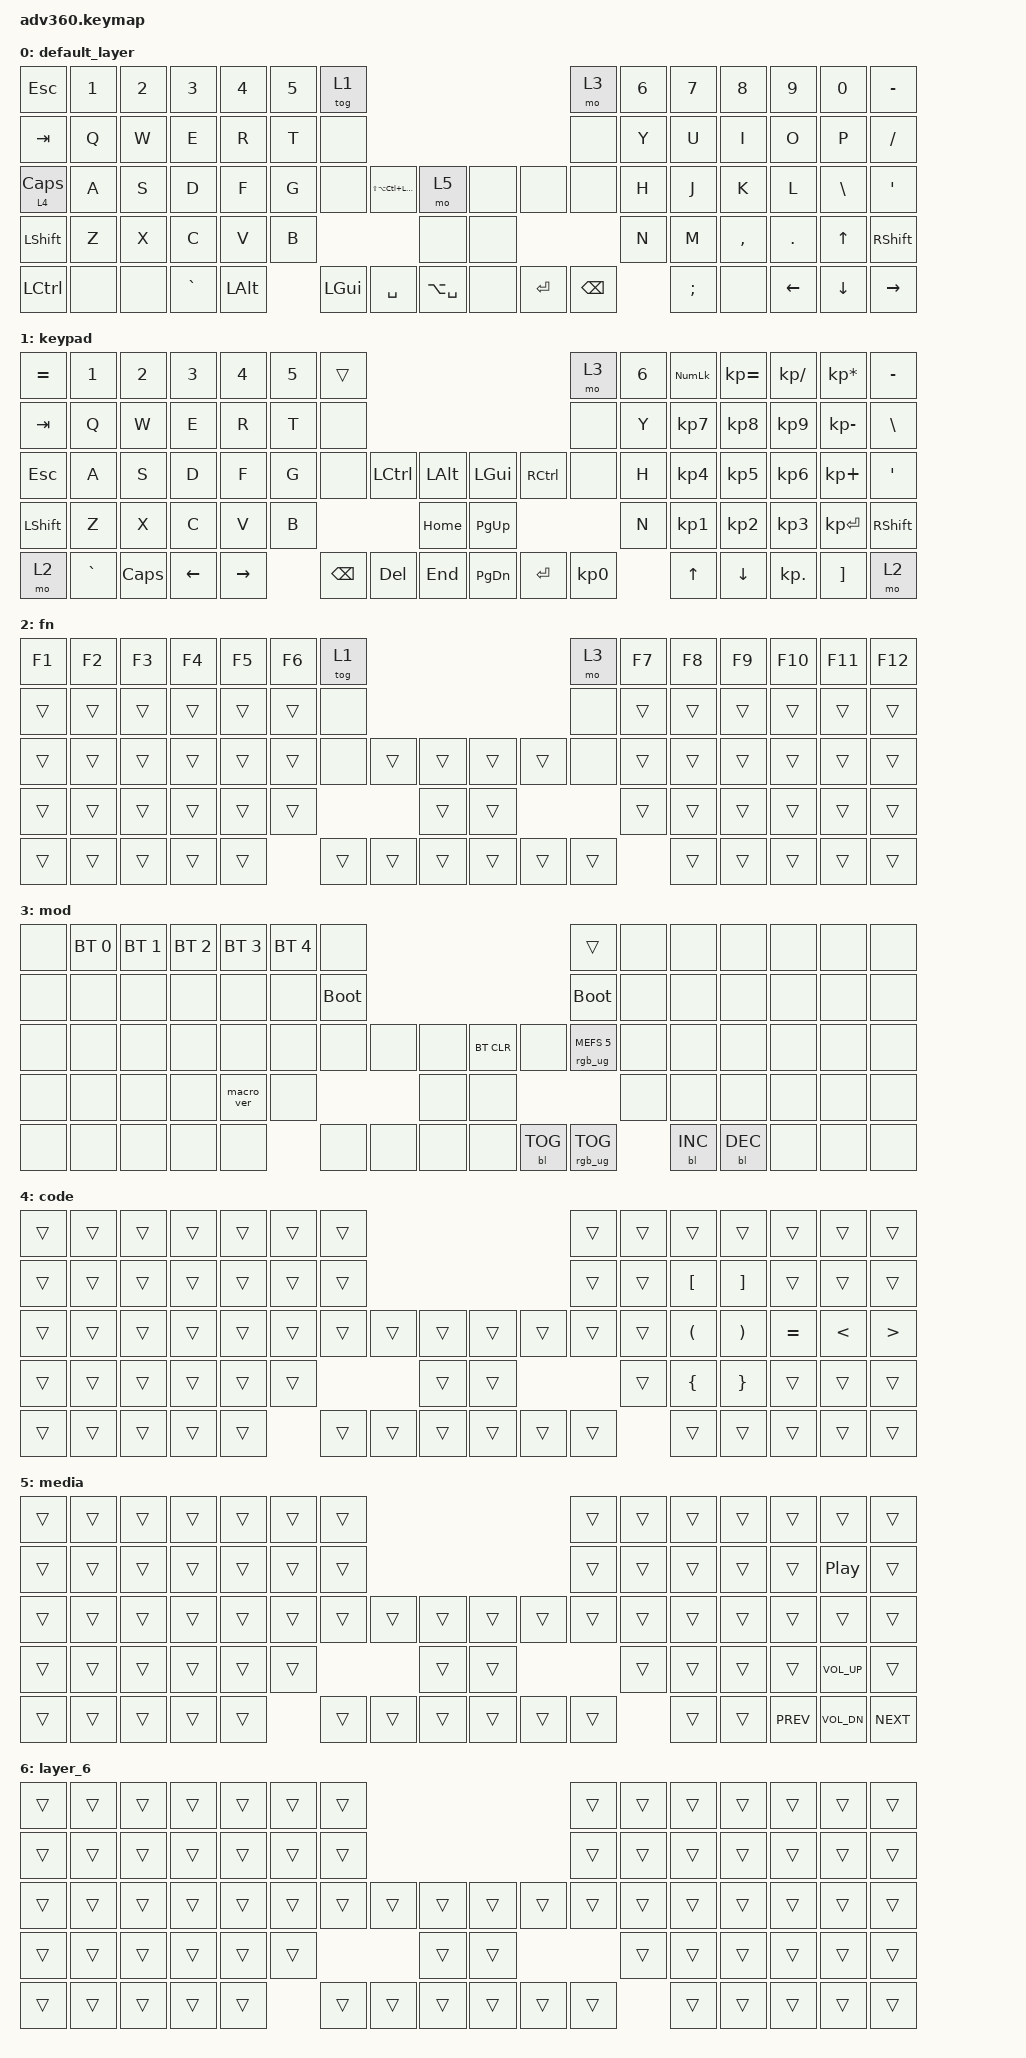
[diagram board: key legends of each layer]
#include <behaviors.dtsi>
#include <dt-bindings/zmk/backlight.h>
#include <dt-bindings/zmk/bt.h>
#include <dt-bindings/zmk/keys.h>
#include <dt-bindings/zmk/rgb.h>

/ {
    behaviors {
        #include "macros.dtsi"
      #include "version.dtsi"
      #ifndef VERSION_MACRO

        macro_ver: macro_ver {
            compatible = "zmk,behavior-macro";
            label = "macro_version";
            #binding-cells = <0>;
            bindings = <&kp RET>;
        };

        #endif

        hm: homerow_mods {
            compatible = "zmk,behavior-hold-tap";
            label = "HOMEROW_MODS";
            #binding-cells = <2>;
            tapping-term-ms = <200>;
            quick_tap_ms = <175>;
            flavor = "tap-preferred";
            bindings = <&kp>, <&kp>;
        };
    };

    macros {
    };

    keymap {
        compatible = "zmk,keymap";

        default_layer {
            bindings = <
&kp ESC     &kp N1  &kp N2  &kp N3     &kp N4        &kp N5  &tog 1                                                               &mo 3          &kp N6  &kp N7    &kp N8     &kp N9          &kp N0         &kp MINUS
&kp TAB     &kp Q   &kp W   &kp E      &kp R         &kp T   &none                                                                &none          &kp Y   &kp U     &kp I      &kp O           &kp P          &kp SLASH
&lt 4 CAPS  &kp A   &kp S   &kp D      &kp F         &kp G   &none     &kp LS(LA(LC(LGUI)))  &mo 5              &none  &none      &none          &kp H   &kp J     &kp K      &kp L           &kp BACKSLASH  &kp SQT
&kp LSHFT   &kp Z   &kp X   &kp C      &kp V         &kp B                                   &none              &none                            &kp N   &kp M     &kp COMMA  &kp DOT         &kp UP_ARROW   &kp RSHFT
&kp LCTRL   &none   &none   &kp GRAVE  &kp LEFT_ALT          &kp LGUI  &kp SPACE             &kp LA(SPACE)      &none  &kp ENTER  &kp BACKSPACE          &kp SEMI  &none      &kp LEFT_ARROW  &kp DOWN       &kp RIGHT
            >;
        };

        keypad {
            bindings = <
&kp EQUAL  &kp N1     &kp N2    &kp N3    &kp N4     &kp N5  &trans                                                   &mo 3      &kp N6  &kp KP_NUM  &kp KP_EQUAL  &kp KP_DIVIDE  &kp KP_MULTIPLY  &kp MINUS
&kp TAB    &kp Q      &kp W     &kp E     &kp R      &kp T   &none                                                    &none      &kp Y   &kp KP_N7   &kp KP_N8     &kp KP_N9      &kp KP_MINUS     &kp BSLH
&kp ESC    &kp A      &kp S     &kp D     &kp F      &kp G   &none     &kp LCTRL  &kp LALT      &kp LGUI   &kp RCTRL  &none      &kp H   &kp KP_N4   &kp KP_N5     &kp KP_N6      &kp KP_PLUS      &kp SQT
&kp LSHFT  &kp Z      &kp X     &kp C     &kp V      &kp B                        &kp HOME      &kp PG_UP                        &kp N   &kp KP_N1   &kp KP_N2     &kp KP_N3      &kp KP_ENTER     &kp RSHFT
&mo 2      &kp GRAVE  &kp CAPS  &kp LEFT  &kp RIGHT          &kp BSPC  &kp DEL    &kp END       &kp PG_DN  &kp ENTER  &kp KP_N0          &kp UP      &kp DOWN      &kp KP_DOT     &kp RBKT         &mo 2
            >;
        };

        fn {
            bindings = <
&kp F1  &kp F2  &kp F3  &kp F4  &kp F5  &kp F6  &tog 1                                      &mo 3   &kp F7  &kp F8  &kp F9  &kp F10  &kp F11  &kp F12
&trans  &trans  &trans  &trans  &trans  &trans  &none                                       &none   &trans  &trans  &trans  &trans   &trans   &trans
&trans  &trans  &trans  &trans  &trans  &trans  &none   &trans  &trans      &trans  &trans  &none   &trans  &trans  &trans  &trans   &trans   &trans
&trans  &trans  &trans  &trans  &trans  &trans                  &trans      &trans                  &trans  &trans  &trans  &trans   &trans   &trans
&trans  &trans  &trans  &trans  &trans          &trans  &trans  &trans      &trans  &trans  &trans          &trans  &trans  &trans   &trans   &trans
            >;
        };

        mod {
            bindings = <
&none  &bt BT_SEL 0  &bt BT_SEL 1  &bt BT_SEL 2  &bt BT_SEL 3  &bt BT_SEL 4  &none                                                  &trans                  &none  &none       &none       &none  &none  &none
&none  &none         &none         &none         &none         &none         &bootloader                                            &bootloader             &none  &none       &none       &none  &none  &none
&none  &none         &none         &none         &none         &none         &none        &none  &none      &bt BT_CLR  &none       &rgb_ug RGB_MEFS_CMD 5  &none  &none       &none       &none  &none  &none
&none  &none         &none         &none         &macro_ver    &none                             &none      &none                                           &none  &none       &none       &none  &none  &none
&none  &none         &none         &none         &none                       &none        &none  &none      &none       &bl BL_TOG  &rgb_ug RGB_TOG                &bl BL_INC  &bl BL_DEC  &none  &none  &none
            >;
        };

        code {
            bindings = <
&trans  &trans  &trans  &trans  &trans  &trans  &trans                                      &trans  &trans  &trans          &trans           &trans     &trans         &trans
&trans  &trans  &trans  &trans  &trans  &trans  &trans                                      &trans  &trans  &kp LBKT        &kp RBKT         &trans     &trans         &trans
&trans  &trans  &trans  &trans  &trans  &trans  &trans  &trans  &trans      &trans  &trans  &trans  &trans  &kp LPAR        &kp RPAR         &kp EQUAL  &kp LESS_THAN  &kp GREATER_THAN
&trans  &trans  &trans  &trans  &trans  &trans                  &trans      &trans                  &trans  &kp LEFT_BRACE  &kp RIGHT_BRACE  &trans     &trans         &trans
&trans  &trans  &trans  &trans  &trans          &trans  &trans  &trans      &trans  &trans  &trans          &trans          &trans           &trans     &trans         &trans
            >;
        };

        media {
            bindings = <
&trans  &trans  &trans  &trans  &trans  &trans  &trans                                      &trans  &trans  &trans  &trans  &trans      &trans            &trans
&trans  &trans  &trans  &trans  &trans  &trans  &trans                                      &trans  &trans  &trans  &trans  &trans      &kp C_PLAY_PAUSE  &trans
&trans  &trans  &trans  &trans  &trans  &trans  &trans  &trans  &trans      &trans  &trans  &trans  &trans  &trans  &trans  &trans      &trans            &trans
&trans  &trans  &trans  &trans  &trans  &trans                  &trans      &trans                  &trans  &trans  &trans  &trans      &kp C_VOL_UP      &trans
&trans  &trans  &trans  &trans  &trans          &trans  &trans  &trans      &trans  &trans  &trans          &trans  &trans  &kp C_PREV  &kp C_VOL_DN      &kp C_NEXT
            >;
        };

        layer_6 {
            bindings = <
&trans  &trans  &trans  &trans  &trans  &trans  &trans                                      &trans  &trans  &trans  &trans  &trans  &trans  &trans
&trans  &trans  &trans  &trans  &trans  &trans  &trans                                      &trans  &trans  &trans  &trans  &trans  &trans  &trans
&trans  &trans  &trans  &trans  &trans  &trans  &trans  &trans  &trans      &trans  &trans  &trans  &trans  &trans  &trans  &trans  &trans  &trans
&trans  &trans  &trans  &trans  &trans  &trans                  &trans      &trans                  &trans  &trans  &trans  &trans  &trans  &trans
&trans  &trans  &trans  &trans  &trans          &trans  &trans  &trans      &trans  &trans  &trans          &trans  &trans  &trans  &trans  &trans
            >;
        };
    };
};
